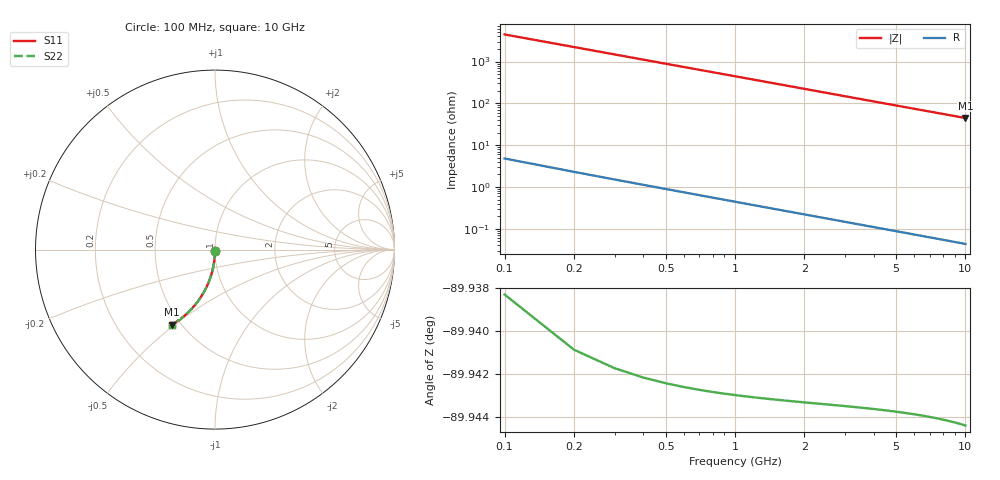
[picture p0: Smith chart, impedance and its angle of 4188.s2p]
# Hz S RI R 50.00
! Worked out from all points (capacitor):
!   100 points, 100 MHz to 10 GHz, reference 50 ohm
!   read as one part in shunt: C = 357 fF near 100 MHz
!   lowest |Z| = 44.6 ohm at 10 GHz (marker M1)
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1e8  -5.51e-07 -0.00553  0.9999 -0.0057  0.9999 -0.0057  -5.51e-07 -0.00553
2e8  -0.0001 -0.011  0.9998 -0.0114  0.9998 -0.0114  -0.0001 -0.011
3e8  -0.000263 -0.0166  0.9997 -0.0171  0.9997 -0.0171  -0.000263 -0.0166
4e8  -0.000488 -0.0221  0.9994 -0.0228  0.9994 -0.0228  -0.000488 -0.0221
5e8  -0.000777 -0.0276  0.9991 -0.0285  0.9991 -0.0285  -0.000777 -0.0276
6e8  -0.00113 -0.0331  0.9988 -0.0341  0.9988 -0.0341  -0.00113 -0.0331
7e8  -0.00154 -0.0386  0.9984 -0.0398  0.9984 -0.0398  -0.00154 -0.0386
8e8  -0.00202 -0.0441  0.9979 -0.0455  0.9979 -0.0455  -0.00202 -0.0441
9e8  -0.00256 -0.0496  0.9974 -0.0511  0.9974 -0.0511  -0.00256 -0.0496
1.1e9  -0.00382 -0.0605  0.9961 -0.0624  0.9961 -0.0624  -0.00382 -0.0605
1.4e9  -0.00617 -0.0769  0.9937 -0.0793  0.9937 -0.0793  -0.00617 -0.0769
1.8e9  -0.0102 -0.0984  0.9898 -0.1015  0.9898 -0.1015  -0.0102 -0.0984
2.1e9  -0.0138 -0.1144  0.9861 -0.118  0.9861 -0.118  -0.0138 -0.1144
2.5e9  -0.0194 -0.1354  0.9805 -0.1397  0.9805 -0.1397  -0.0194 -0.1354
2.9e9  -0.0259 -0.1561  0.974 -0.161  0.974 -0.161  -0.0259 -0.1561
3.4e9  -0.0353 -0.1812  0.9646 -0.187  0.9646 -0.187  -0.0353 -0.1812
4.2e9  -0.0529 -0.2197  0.947 -0.227  0.947 -0.227  -0.0529 -0.2197
5.1e9  -0.076 -0.2602  0.9239 -0.269  0.9239 -0.269  -0.076 -0.2602
5.9e9  -0.0992 -0.2934  0.9007 -0.3036  0.9007 -0.3036  -0.0992 -0.2934
6.7e9  -0.1244 -0.3238  0.8754 -0.3354  0.8754 -0.3354  -0.1244 -0.3238
8.4e9  -0.1827 -0.3787  0.8171 -0.3933  0.8171 -0.3933  -0.1827 -0.3787
1e10  -0.2408 -0.4184  0.759 -0.4358  0.759 -0.4358  -0.2408 -0.4184
